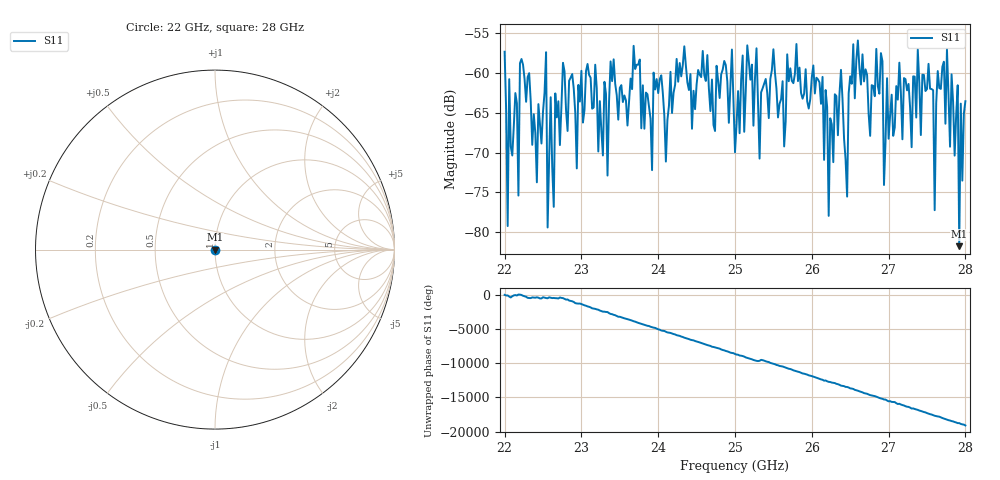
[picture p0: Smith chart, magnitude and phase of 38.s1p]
#  HZ  S  RI  R  50.00
! Rohde & Schwarz ZVA40 4Ports - Version 3.90 - 1145.1110k42 SN: 100403
! Date: 2023-10-04 11:31:52
! Measurement: S12
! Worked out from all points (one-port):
!   301 points, 22 GHz to 28 GHz, reference 50 ohm
!   lowest |S11| = -81.8 dB at 27.92 GHz (marker M1), VSWR 1.00, Z = 50 - j0.006 ohm
!   |S11| at or under -10 dB: start of sweep to end of sweep
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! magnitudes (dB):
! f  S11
! 22 GHz  -57.3
! 22.04 GHz  -79.2
! 22.06 GHz  -60.8
! 22.42 GHz  -73.7
! 22.54 GHz  -57.4
! 22.56 GHz  -79.4
! 22.76 GHz  -58.7
! 22.94 GHz  -72.0
! 23.5 GHz  -61.9
! 24.26 GHz  -61.1
! 24.96 GHz  -57.0
! 25 GHz  -70.0
! 25.76 GHz  -61.3
! 26.14 GHz  -60.5
! 26.22 GHz  -78.0
! 26.38 GHz  -59.6
! 26.46 GHz  -75.5
! 26.5 GHz  -60.4
! 26.9 GHz  -57.5
! 26.94 GHz  -74.1
! 27.26 GHz  -61.4
! 27.52 GHz  -58.8
! 27.6 GHz  -77.2
! 27.64 GHz  -59.7
! 27.76 GHz  -57.0
! 27.9 GHz  -61.5
! 27.92 GHz  -81.8
! 28 GHz  -63.5
